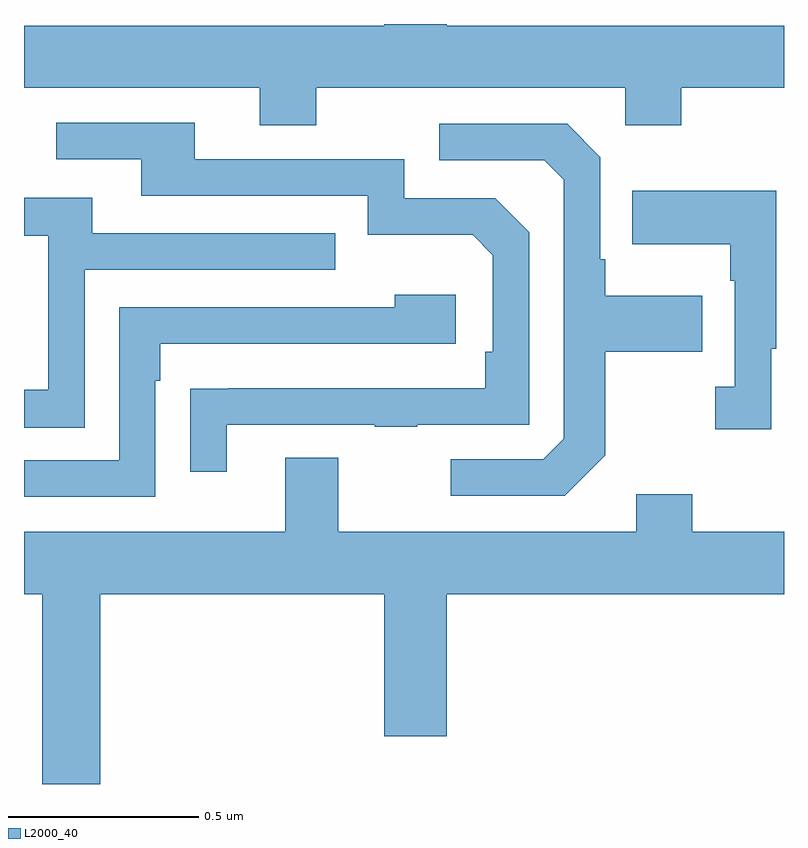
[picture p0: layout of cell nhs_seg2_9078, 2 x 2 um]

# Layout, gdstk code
import gdstk
lib = gdstk.Library(unit=1e-6, precision=1e-09)
def P(c, l, *ps):  # polygons
    for p in ps: c.add(gdstk.Polygon(p, *l))
L2000_40 = (2000, 40)

nhs_seg2_9078 = lib.new_cell('nhs_seg2_9078')
P(nhs_seg2_9078, L2000_40, [(224.769,651.632),(225.582,651.632),(225.582,651.533),(225.729,651.533),(225.729,651.632),(226,651.632),(226,651.796),(225.112,651.796),(225.112,651.8),(224.948,651.8),(224.948,651.796),(224,651.796),(224,651.632),(224.621,651.632),(224.621,651.533),(224.769,651.533)],
  [(224.533,650.745),(224.923,650.745),(224.923,650.74),(225.035,650.74),(225.035,650.745),(225.33,650.745),(225.33,651.252),(225.24,651.342),(225,651.342),(225,651.444),(224.449,651.444),(224.449,651.54),(224.085,651.54),(224.085,651.444),(224.309,651.444),(224.309,651.348),(224.904,651.348),(224.904,651.245),(225.181,651.245),(225.234,651.192),(225.234,650.938),(225.214,650.938),(225.214,650.841),(224.539,650.841),(224.539,650.84),(224.437,650.84),(224.437,650.622),(224.533,650.622)],
  [(225.529,650.665),(225.529,650.938),(225.785,650.938),(225.785,651.085),(225.529,651.085),(225.529,651.181),(225.516,651.181),(225.516,651.45),(225.429,651.537),(225.093,651.537),(225.093,651.441),(225.369,651.441),(225.42,651.39),(225.42,650.709),(225.366,650.655),(225.123,650.655),(225.123,650.559),(225.423,650.559)],
  [(225.967,650.945),(225.979,650.945),(225.979,651.361),(225.601,651.361),(225.601,651.221),(225.858,651.221),(225.858,651.125),(225.87,651.125),(225.87,650.846),(225.819,650.846),(225.819,650.733),(225.967,650.733)],
  [(224.16,651.153),(224.819,651.153),(224.819,651.249),(224.179,651.249),(224.179,651.343),(224,651.343),(224,651.243),(224.064,651.243),(224.064,650.838),(224,650.838),(224,650.737),(224.16,650.737)],
  [(224.346,650.861),(224.359,650.861),(224.359,650.958),(225.136,650.958),(225.136,651.088),(224.975,651.088),(224.975,651.054),(224.25,651.054),(224.25,650.652),(224,650.652),(224,650.556),(224.346,650.556)],
  [(224.201,650.3),(224.948,650.3),(224.948,649.926),(225.112,649.926),(225.112,650.3),(226,650.3),(226,650.464),(225.759,650.464),(225.759,650.563),(225.611,650.563),(225.611,650.464),(224.827,650.464),(224.827,650.659),(224.687,650.659),(224.687,650.464),(224,650.464),(224,650.3),(224.048,650.3),(224.048,649.8),(224.201,649.8)])

lib.write_gds('nhs_seg2_9078.gds')
